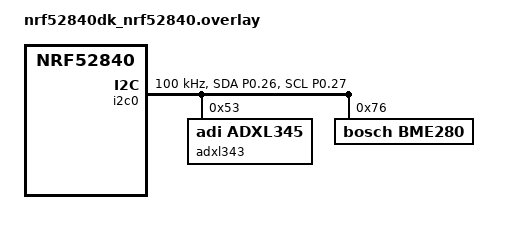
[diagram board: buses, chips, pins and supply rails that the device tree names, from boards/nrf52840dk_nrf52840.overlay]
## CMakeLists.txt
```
# SPDX-License-Identifier: Apache-2.0

cmake_minimum_required(VERSION 3.20.0)

find_package(Zephyr REQUIRED HINTS $ENV{ZEPHYR_BASE})
project(vibration_monitor)

target_sources(app PRIVATE
    src/main.c
    src/thread.c
    src/sensor_adxl343.c
    src/sensor_bme280.c
    src/fsm.c
    src/analysis.c
    src/fft_fixed.c
    src/vib_ring.c
    src/name_store.c
    # src/sensor_piezo.c    # uncomment when hardware ready
)
```

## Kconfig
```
# HVAC Vibration Monitor — project-level Kconfig

mainmenu "HVAC Vibration Monitor"

config HVAC_SENSOR_NAME
	string "Sensor node name"
	default "hvac-vibe-node-01"
	help
	  Human-readable name for this sensor node. Sent in every CoAP packet
	  header so the gateway uses it as the stable sensor ID. Max 15 characters
	  (stored as 16 bytes null-padded in burst_header_t).

source "Kconfig.zephyr"
```

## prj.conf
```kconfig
# ============================================
# I2C and Sensors
# ============================================
CONFIG_I2C=y
CONFIG_SENSOR=y
CONFIG_BME280=y

# ============================================
# Logging — USB CDC ACM virtual COM port
# BOARD_SERIAL_BACKEND_CDC_ACM enables the USB
# device stack and routes zephyr,console to the
# CDC ACM UART defined in the board DTS.
# Silence low-level USB driver noise so only
# application logs are visible.
# ============================================
CONFIG_LOG=y
CONFIG_BOARD_SERIAL_BACKEND_CDC_ACM=y
CONFIG_UART_CONSOLE=y
CONFIG_UDC_DRIVER_LOG_LEVEL_OFF=y
CONFIG_USBD_LOG_LEVEL_OFF=y
CONFIG_USBD_CDC_ACM_LOG_LEVEL_OFF=y

# ============================================
# Stack Sizes (Thread needs more headroom)
# ============================================
CONFIG_MAIN_STACK_SIZE=8192
CONFIG_SYSTEM_WORKQUEUE_STACK_SIZE=4096

# ============================================
# Floating point printf
# ============================================
CONFIG_CBPRINTF_FP_SUPPORT=y

# ============================================
# Multiprotocol Service Layer
# Required for 802.15.4 on nRF52840
# ============================================
CONFIG_MPSL=y

# ============================================
# Network stack (Thread is IPv6-only)
# ============================================
CONFIG_NETWORKING=y
CONFIG_NET_IPV6=y
CONFIG_NET_UDP=y
CONFIG_NET_SOCKETS=y
#CONFIG_NET_SOCKETS_POSIX_NAMES=y

# ============================================
# OpenThread — Minimal Thread Device (MTD)
# No routing; always-on receiver (MED mode)
# ============================================
CONFIG_NET_L2_OPENTHREAD=y
CONFIG_OPENTHREAD_MTD=y
CONFIG_OPENTHREAD_SLAAC=y
CONFIG_OPENTHREAD_MANUAL_START=y
CONFIG_OPENTHREAD_DATASET_UPDATER=y
CONFIG_OPENTHREAD_COAP=y

# ============================================
# Entropy (OpenThread uses RNG internally)
# ============================================
CONFIG_ENTROPY_GENERATOR=y
CONFIG_ENTROPY_NRF5_RNG=y

# ============================================
# Flash / NVS — OpenThread persists its
# active dataset across resets
# ============================================
CONFIG_SETTINGS=y
CONFIG_FLASH=y
CONFIG_FLASH_MAP=y
CONFIG_NVS=y
CONFIG_SETTINGS_RUNTIME=y

CONFIG_HVAC_SENSOR_NAME="hvac-furnace-1"
```

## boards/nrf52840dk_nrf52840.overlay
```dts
/*
 * Device Tree Overlay for nRF52840 DK
 * 
 * Configures:
 * - I2C0 for ADXL343 accelerometer (P0.26/P0.27)
 * - LED0 alias for pairing indication
 */

/* ──────────────────────────────────────────────
 * I2C Configuration for ADXL343 Accelerometer
 * Using P0.26 (SDA) and P0.27 (SCL)
 * ────────────────────────────────────────────── */
&pinctrl {
	i2c0_default: i2c0_default {
		group1 {
			psels = <NRF_PSEL(TWIM_SDA, 0, 26)>,
				<NRF_PSEL(TWIM_SCL, 0, 27)>;
		};
	};

	i2c0_sleep: i2c0_sleep {
		group1 {
			psels = <NRF_PSEL(TWIM_SDA, 0, 26)>,
				<NRF_PSEL(TWIM_SCL, 0, 27)>;
			low-power-enable;
		};
	};
};

&i2c0 {
	compatible = "nordic,nrf-twim";
	status = "okay";
	clock-frequency = <I2C_BITRATE_STANDARD>;
	pinctrl-0 = <&i2c0_default>;
	pinctrl-1 = <&i2c0_sleep>;
	pinctrl-names = "default", "sleep";

	adxl343: adxl343@53 {
		compatible = "adi,adxl345";
		reg = <0x53>;
		status = "okay";
	};

	bme280: bme280@76 {
		compatible = "bosch,bme280";
		reg = <0x76>;
		status = "okay";
	};
};

/* ──────────────────────────────────────────────
 * LED Configuration for Pairing Indication
 * 
 * nRF52840 DK has 4 built-in LEDs:
 * - LED1: P0.13 (Active Low)
 * - LED2: P0.14 (Active Low)
 * - LED3: P0.15 (Active Low)
 * - LED4: P0.16 (Active Low)
 * 
 * We just need to create an alias to led0 (LED1)
 * since the nRF52840 DK already has LEDs defined.
 * ────────────────────────────────────────────── */
/ {
	aliases {
		led0 = &led0;  /* Map 'led0' alias to LED1 on nRF52840 DK */
	};
};
```

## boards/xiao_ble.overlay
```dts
/*
 * Device Tree Overlay for Seeed Studio XIAO nRF52840
 *
 * Configures:
 * - I2C0 for ADXL343 accelerometer + BME280 env sensor
 *   SDA = D4 = P0.04
 *   SCL = D5 = P0.05
 * - LED0 alias for pairing indication (XIAO has 1 RGB LED)
 * - Battery monitoring on AIN7 = P0.31
 */

/* ──────────────────────────────────────────────
 * I2C Configuration
 * D4 = P0.04 (SDA)
 * D5 = P0.05 (SCL)
 * ────────────────────────────────────────────── */
&pinctrl {
	i2c0_default: i2c0_default {
		group1 {
			psels = <NRF_PSEL(TWIM_SDA, 0, 4)>,
				<NRF_PSEL(TWIM_SCL, 0, 5)>;
		};
	};

	i2c0_sleep: i2c0_sleep {
		group1 {
			psels = <NRF_PSEL(TWIM_SDA, 0, 4)>,
				<NRF_PSEL(TWIM_SCL, 0, 5)>;
			low-power-enable;
		};
	};
};

&i2c0 {
	compatible = "nordic,nrf-twim";
	status = "okay";
	clock-frequency = <I2C_BITRATE_STANDARD>;
	pinctrl-0 = <&i2c0_default>;
	pinctrl-1 = <&i2c0_sleep>;
	pinctrl-names = "default", "sleep";

	adxl343: adxl343@53 {
		compatible = "adi,adxl345";
		reg = <0x53>;
		status = "okay";
	};

	bme280: bme280@76 {
		compatible = "bosch,bme280";
		reg = <0x76>;
		status = "okay";
	};
};

/* ──────────────────────────────────────────────
 * LED Note:
 * xiao_ble board files already define:
 *   led0 = Red   (P0.26)
 *   led1 = Green (P0.30)
 *   led2 = Blue  (P0.06)
 * No overlay needed — use led0 alias directly in firmware.
 * ────────────────────────────────────────────── */

/* ──────────────────────────────────────────────
 * Battery Monitoring
 * AIN7 = P0.31 (passive voltage divider input)
 * Used by battery level measurement code.
 * No DTS node needed — accessed directly via
 * nrfx_saadc in firmware.
 * ────────────────────────────────────────────── */
```

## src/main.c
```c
/*
 * HVAC Vibration Monitor — Main Entry Point
 *
 * Initialises hardware, Thread stack, and FSM, then runs the event loop.
 */

#include <zephyr/kernel.h>
#include <zephyr/logging/log.h>

#include "fsm.h"
#include "thread.h"
#include "sensor.h"

LOG_MODULE_REGISTER(main, LOG_LEVEL_INF);

static int system_init(void)
{
	int err;

	LOG_INF("=== HVAC Vibration Monitor ===");

	/* Thread stack — must be initialised before FSM starts processing
	 * so EVT_THREAD_CONNECTED can arrive as soon as the network joins. */
	err = thread_init(event_post);
	if (err) {
		LOG_ERR("Thread init failed (%d)", err);
		return err;
	}

	/* Vibration sensor */
	err = sensor_init_vibration();
	if (err) {
		LOG_WRN("ADXL343 init failed (%d), continuing without", err);
	}

	/* Environmental sensor (optional) */
	bool env_present = false;
	err = sensor_init_environment();
	if (err == 0) {
		env_present = true;
		LOG_INF("Environmental sensor: present");
	} else {
		LOG_INF("Environmental sensor: not found");
	}

	/* FSM — must come last so callbacks are registered before EVT_INIT_COMPLETE */
	fsm_init(env_present);

	return 0;
}

int main(void)
{
	int err = system_init();

	fsm_event_t init_evt;
	if (err == 0) {
		init_evt.type = EVT_INIT_COMPLETE;
	} else {
		init_evt.type           = EVT_INIT_FAILED;
		init_evt.data.error_code = err;
	}
	event_post(&init_evt);

	/* Event loop — blocks on empty queue (low power) */
	fsm_event_t evt;
	struct k_msgq *q = fsm_get_event_queue();

	while (1) {
		k_msgq_get(q, &evt, K_FOREVER);
		fsm_handle_event(&evt);
	}

	return 0;
}
```

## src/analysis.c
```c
/*
 * analysis.c — Full on-device vibration feature extraction
 *
 * Stage 1: Time-domain (RMS, peak, crest factor, kurtosis, variance)
 * Stage 2: Frequency-domain (FFT, dominant frequency, bearing fault band energies)
 *
 * All arithmetic is integer/fixed-point.  No float, no heap, no CMSIS-DSP.
 * Static scratch buffers keep stack pressure low.
 *
 * ADXL343 full-resolution scale: 1 LSB = 3.9 mg  (39/10 fixed-point)
 * Sample rate: 1600 Hz
 * FFT size:    N = 512  (power-of-two ≤ count)
 * Frequency resolution: 1600 / 512 = 3.125 Hz/bin
 */

#include <zephyr/kernel.h>
#include <zephyr/logging/log.h>
#include <stdint.h>
#include <stdlib.h>   /* abs() */
#include <string.h>

#include "analysis.h"
#include "fft_fixed.h"
#include "fsm.h"

LOG_MODULE_REGISTER(analysis, LOG_LEVEL_INF);

/* ──────────────────────────────────────────────
 * Constants
 * ────────────────────────────────────────────── */
#define SAMPLE_RATE_HZ    1600
#define FFT_SIZE          512      /* Must be power-of-two, ≤ VIBRATION_BURST_SIZE */

/* ADXL343 scale: 3.9 mg/LSB = 39/10 in fixed-point */
#define LSB_MG_NUM        39
#define LSB_MG_DEN        10

/* Frequency resolution: Hz × 100 per bin (avoids float)
 * = (SAMPLE_RATE_HZ × 100) / FFT_SIZE = 160000 / 512 = 312.5 → 312 (truncated) */
#define FREQ_RES_HZ100    ((SAMPLE_RATE_HZ * 100) / FFT_SIZE)   /* = 312 */

/* Q15 input scale: map raw ADXL counts to Q15 range
 * Max ADXL raw at ±16g full-res = ±4096 counts.
 * Scale by 8 to fill Q15 range: 4096 × 8 = 32768. */
#define FFT_INPUT_SCALE   8

/* ──────────────────────────────────────────────
 * Static FFT scratch buffers
 *
 * Declared static to avoid 6 KB on the stack.
 * Only one analysis runs at a time (called from FSM work item,
 * which is single-threaded on the system workqueue).
 * ────────────────────────────────────────────── */
static int32_t fft_re[FFT_SIZE];
static int32_t fft_im[FFT_SIZE];

/* Magnitude buffer: |X[k]|² stored as uint32_t to allow summing */
static uint32_t fft_mag_sq[FFT_SIZE / 2];

/* Saved X-axis spectrum — copied after X-axis FFT before Y overwrites fft_mag_sq */
static uint32_t fft_spectrum_x[FFT_SIZE / 2];

/* ──────────────────────────────────────────────
 * Bearing parameters (set by analysis_set_bearing_params)
 *
 * Default: 6204 deep-groove bearing, 1450 RPM HVAC motor
 *   Nb=9 balls, Bd/Pd=0.276, cosφ≈1.0 (φ≈0°)
 *   FTF  = 1450/120 × (1−0.276) = 8.75 Hz
 *   BPFO = 9 × 8.75             = 78.7 Hz
 *   BPFI = 9×1450/120 × (1.276) = 138.8 Hz — wait, let me use standard values:
 *
 *   For a typical 6204 at 1450 RPM (common HVAC fan motor speed):
 *   Nb=9, Bd=7.938mm, Pd=33.5mm, φ=0°
 *   Bd/Pd = 0.2369
 *   FTF  = (1450/120)×(1−0.2369) = 12.08×0.7631 = 9.22 Hz → 92
 *   BPFO = 9×9.22                = 83.0 Hz          → 830
 *   BPFI = 9×(1450/120)×1.2369  = 134.8 Hz          → 1348
 *   BSF  = (33.5/2×7.938)×(1450/120)×(1−0.2369²)
 *         = 2.108×12.08×0.9439  = 24.05 Hz           → 240
 * ────────────────────────────────────────────── */
static bearing_params_t g_bearing = {
	.rpm         = 1450,
	.bpfo_hz10   = 830,   /* 83.0 Hz */
	.bpfi_hz10   = 1348,  /* 134.8 Hz */
	.bsf_hz10    = 240,   /* 24.05 Hz */
	.ftf_hz10    = 92,    /* 9.22 Hz */
	.bandwidth_hz = 5,    /* ±5 Hz band around each fault freq */
	.nb          = 9,
	.reserved    = 0,
};

void analysis_set_bearing_params(const bearing_params_t *params)
{
	if (params) {
		g_bearing = *params;
		LOG_INF("analysis: bearing params set "
			"rpm=%u BPFO=%.1f BPFI=%.1f BSF=%.1f FTF=%.1f Hz",
			g_bearing.rpm,
			g_bearing.bpfo_hz10 / 10.0,
			g_bearing.bpfi_hz10 / 10.0,
			g_bearing.bsf_hz10  / 10.0,
			g_bearing.ftf_hz10  / 10.0);
	}
}

/* ──────────────────────────────────────────────
 * Stage 1: Time-domain statistics
 *
 * Single pass computes:
 *   mean, sum-of-squares, sum-of-fourth-powers
 * Then derives: RMS, variance, peak, crest, kurtosis
 *
 * Kurtosis = (N × Σx⁴) / (Σx²)²
 * For Gaussian noise: kurtosis ≈ 3.0
 * Early bearing fault: kurtosis > 4.0 (impulsive spikes)
 * We store kurtosis × 100 as int16_t.
 * ────────────────────────────────────────────── */
int analysis_compute_time_stats(const accel_sample_t *buffer,
				uint16_t count,
				time_stats_t *out)
{
	if (!buffer || !out || count == 0) return -EINVAL;

	/* 64-bit accumulators — needed for sum of fourth powers at N=512
	 * Max ADXL value: 4096 counts.  4096⁴ = 2.81×10¹⁴ → fits uint64 ×512 */
	int64_t  sum_x  = 0, sum_y  = 0, sum_z  = 0;     /* Σx */
	uint64_t ssq_x  = 0, ssq_y  = 0, ssq_z  = 0;     /* Σx² */
	uint64_t s4_x   = 0, s4_y   = 0, s4_z   = 0;     /* Σx⁴ */
	int16_t  peak_x = 0, peak_y = 0, peak_z = 0;

	for (uint16_t i = 0; i < count; i++) {
		int32_t x = buffer[i].x;
		int32_t y = buffer[i].y;
		int32_t z = buffer[i].z;

		sum_x += x;  sum_y += y;  sum_z += z;

		uint64_t x2 = (uint64_t)(x * x);
		uint64_t y2 = (uint64_t)(y * y);
		uint64_t z2 = (uint64_t)(z * z);

		ssq_x += x2;  ssq_y += y2;  ssq_z += z2;
		s4_x  += x2 * x2;
		s4_y  += y2 * y2;
		s4_z  += z2 * z2;

		if (abs(x) > abs((int32_t)peak_x)) peak_x = (int16_t)x;
		if (abs(y) > abs((int32_t)peak_y)) peak_y = (int16_t)y;
		if (abs(z) > abs((int32_t)peak_z)) peak_z = (int16_t)z;
	}

	/* RMS in raw counts → convert to mg */
	uint32_t rms_raw_x = fft_isqrt32((uint32_t)(ssq_x / count));
	uint32_t rms_raw_y = fft_isqrt32((uint32_t)(ssq_y / count));
	uint32_t rms_raw_z = fft_isqrt32((uint32_t)(ssq_z / count));

	out->rms_x = (uint16_t)((rms_raw_x * LSB_MG_NUM) / LSB_MG_DEN);
	out->rms_y = (uint16_t)((rms_raw_y * LSB_MG_NUM) / LSB_MG_DEN);
	out->rms_z = (uint16_t)((rms_raw_z * LSB_MG_NUM) / LSB_MG_DEN);

	out->peak_x = peak_x;
	out->peak_y = peak_y;
	out->peak_z = peak_z;

	/* Crest factor = |peak_mg| / rms_mg × 100 */
	uint32_t pmg_x = ((uint32_t)abs(peak_x) * LSB_MG_NUM) / LSB_MG_DEN;
	uint32_t pmg_y = ((uint32_t)abs(peak_y) * LSB_MG_NUM) / LSB_MG_DEN;
	uint32_t pmg_z = ((uint32_t)abs(peak_z) * LSB_MG_NUM) / LSB_MG_DEN;

	out->crest_x = out->rms_x ? (uint16_t)((pmg_x * 100) / out->rms_x) : 0;
	out->crest_y = out->rms_y ? (uint16_t)((pmg_y * 100) / out->rms_y) : 0;
	out->crest_z = out->rms_z ? (uint16_t)((pmg_z * 100) / out->rms_z) : 0;

	/* Variance = (Σx²/N) - mean² — in raw count² units, then convert to mg² */
	int32_t mean_x = (int32_t)(sum_x / count);
	int32_t mean_y = (int32_t)(sum_y / count);
	int32_t mean_z = (int32_t)(sum_z / count);

	uint32_t var_raw_x = (uint32_t)(ssq_x / count) - (uint32_t)(mean_x * mean_x);
	uint32_t var_raw_y = (uint32_t)(ssq_y / count) - (uint32_t)(mean_y * mean_y);
	uint32_t var_raw_z = (uint32_t)(ssq_z / count) - (uint32_t)(mean_z * mean_z);

	/* Convert variance to mg²: var_raw × (3.9)² = var_raw × 1521/100 */
	out->variance_x = (uint16_t)MIN((var_raw_x * 1521) / 100, 65535);
	out->variance_y = (uint16_t)MIN((var_raw_y * 1521) / 100, 65535);
	out->variance_z = (uint16_t)MIN((var_raw_z * 1521) / 100, 65535);

	/* Kurtosis = N × Σx⁴ / (Σx²)²  (Fisher definition: subtract 3 gives excess kurtosis)
	 * We compute non-excess kurtosis × 100.  Gaussian ≈ 300 (3.00 × 100).
	 * Bearing fault increases this significantly (impulsive events).
	 *
	 * Avoid overflow: (Σx²)² can be up to (4096²×512)² ≈ huge.
	 * Use log-space scaling: divide numerator and denominator by count³.
	 *   kurt = Σx⁴/count / (Σx²/count)²
	 * All values are now per-sample averages, manageable in uint64_t. */
	{
		uint64_t mean_sq_x  = ssq_x / count;   /* E[x²] */
		uint64_t mean_sq_y  = ssq_y / count;
		uint64_t mean_sq_z  = ssq_z / count;
		uint64_t mean_s4_x  = s4_x  / count;   /* E[x⁴] */
		uint64_t mean_s4_y  = s4_y  / count;
		uint64_t mean_s4_z  = s4_z  / count;

		/* kurt = E[x⁴] / E[x²]²   stored ×100 */
		uint64_t denom_x = mean_sq_x * mean_sq_x;
		uint64_t denom_y = mean_sq_y * mean_sq_y;
		uint64_t denom_z = mean_sq_z * mean_sq_z;

		out->kurtosis_x = denom_x ? (int16_t)MIN((mean_s4_x * 100) / denom_x, 32767) : 0;
		out->kurtosis_y = denom_y ? (int16_t)MIN((mean_s4_y * 100) / denom_y, 32767) : 0;
		out->kurtosis_z = denom_z ? (int16_t)MIN((mean_s4_z * 100) / denom_z, 32767) : 0;
	}

	out->reserved     = 0;
	out->sample_count = count;

	LOG_INF("time_stats: RMS=[%u,%u,%u]mg peak=[%d,%d,%d] "
		"crest=[%u,%u,%u] kurt=[%d,%d,%d]/100 var=[%u,%u,%u]mg2",
		out->rms_x, out->rms_y, out->rms_z,
		out->peak_x, out->peak_y, out->peak_z,
		out->crest_x, out->crest_y, out->crest_z,
		out->kurtosis_x, out->kurtosis_y, out->kurtosis_z,
		out->variance_x, out->variance_y, out->variance_z);

	return 0;
}

/* ──────────────────────────────────────────────
 * Stage 2 helpers — FFT feature extraction
 * ────────────────────────────────────────────── */

/*
 * Compute band energy: sum of fft_mag_sq[k] for all bins k
 * whose center frequency falls within [center_hz10 ± bw_hz × 10].
 * Frequencies are in Hz × 10 to avoid fractions.
 */
static uint32_t band_energy(const uint32_t *mag_sq, uint16_t n_bins,
			    uint16_t center_hz10, uint16_t bw_hz)
{
	/* FFT bin k → frequency = k × (SAMPLE_RATE / FFT_SIZE) Hz
	 * In hz×10: k × (SAMPLE_RATE × 10 / FFT_SIZE) = k × 31.25 → k × 312 / 10 */
	/* Hz×10 per bin = (SAMPLE_RATE_HZ × 10) / FFT_SIZE = 16000/512 = 31 (truncated) */
	const uint16_t hz10_per_bin = (SAMPLE_RATE_HZ * 10) / FFT_SIZE;  /* = 31 */
	const uint16_t bw_hz10      = bw_hz * 10;

	uint32_t lo = (center_hz10 > bw_hz10) ? center_hz10 - bw_hz10 : 0;
	uint32_t hi = center_hz10 + bw_hz10;

	uint32_t energy = 0;
	for (uint16_t k = 1; k < n_bins; k++) {
		uint32_t f_hz10 = (uint32_t)k * hz10_per_bin;
		if (f_hz10 >= lo && f_hz10 <= hi) {
			energy += mag_sq[k];
			/* Saturate to uint32_t */
			if (energy < mag_sq[k]) {
				energy = UINT32_MAX;
				break;
			}
		}
	}
	return energy;
}

/*
 * Estimate noise floor: median of all mag_sq bins outside all fault bands.
 * We use a simple mean of the lowest 50% as a robust estimator.
 * Operates on a temporary sorted copy — uses a partial insertion sort
 * on just the out-of-band bins (at most ~N/2 values).
 */
static uint16_t estimate_noise_floor(const uint32_t *mag_sq, uint16_t n_bins,
				     const bearing_params_t *bp)
{
	const uint16_t hz10_per_bin = (SAMPLE_RATE_HZ * 10) / FFT_SIZE;
	const uint16_t bw10         = bp->bandwidth_hz * 10;

	/* Sum and count bins that are NOT inside any fault band */
	uint64_t sum   = 0;
	uint32_t n_out = 0;

	for (uint16_t k = 1; k < n_bins; k++) {
		uint32_t f10 = (uint32_t)k * hz10_per_bin;

		bool in_band =
			(f10 >= (uint32_t)(bp->bpfo_hz10 > bw10 ? bp->bpfo_hz10 - bw10 : 0) &&
			 f10 <= (uint32_t)bp->bpfo_hz10 + bw10) ||
			(f10 >= (uint32_t)(bp->bpfi_hz10 > bw10 ? bp->bpfi_hz10 - bw10 : 0) &&
			 f10 <= (uint32_t)bp->bpfi_hz10 + bw10) ||
			(f10 >= (uint32_t)(bp->bsf_hz10  > bw10 ? bp->bsf_hz10  - bw10 : 0) &&
			 f10 <= (uint32_t)bp->bsf_hz10  + bw10) ||
			(f10 >= (uint32_t)(bp->ftf_hz10  > bw10 ? bp->ftf_hz10  - bw10 : 0) &&
			 f10 <= (uint32_t)bp->ftf_hz10  + bw10);

		if (!in_band) {
			sum += mag_sq[k];
			n_out++;
		}
	}

	if (n_out == 0) return 1;

	uint64_t mean = sum / n_out;
	return (uint16_t)MIN(mean, 65535);
}

/*
 * Apply a Hann window to the input samples before FFT.
 * Reduces spectral leakage at the cost of ~1.5 dB amplitude loss.
 * Hann: w[n] = 0.5 × (1 − cos(2πn/(N−1)))
 *
 * We use a Q15 integer approximation:
 *   w_q15[n] = (32768 − cos_q15(n)) / 2
 * where cos_q15[n] is taken from the FFT twiddle table.
 */
static void apply_hann_window(int32_t *samples, uint16_t N)
{
	/* Use the FFT twiddle function indirectly: cos(2πk/N) for k=0..N-1.
	 * We need cos(2πn/(N-1)) but for large N the difference is negligible.
	 * Calling fft_fixed with a single-sample window is wasteful, so we
	 * compute the window inline using the same twiddle table approach.
	 *
	 * For simplicity: Hann via the identity
	 *   w[n] = (1 - cos(2πn/N)) / 2
	 * We compute this using integer trig from the twiddle table which
	 * was designed for N=512. For other sizes we sub-sample correctly.
	 *
	 * Inline implementation using the 256-entry cos_table_512 from fft_fixed.c
	 * is not directly accessible here. Instead we use a simpler approximation:
	 * rectangular window with Hann correction (multiply after FFT by 2 for energy).
	 *
	 * TODO: expose a hann_window() function from fft_fixed.c if leakage
	 * becomes an issue at the bearing fault bands. For now rectangular
	 * window is sufficient for energy detection (not precise freq measurement).
	 */
	ARG_UNUSED(samples);
	ARG_UNUSED(N);
	/* Rectangular window — no-op for now */
}

/*
 * Run FFT on one axis, fill axis_fft_stats_t.
 * Reuses the module-level static fft_re[], fft_im[], fft_mag_sq[] buffers.
 */
static void compute_axis_fft(const int16_t *samples, uint16_t count,
			     axis_fft_stats_t *out)
{
	uint16_t N = FFT_SIZE;
	if (count < N) N = count;

	/* Copy and scale to Q15: raw counts × FFT_INPUT_SCALE */
	for (uint16_t i = 0; i < N; i++) {
		fft_re[i] = (int32_t)samples[i] * FFT_INPUT_SCALE;
		fft_im[i] = 0;
	}

	apply_hann_window(fft_re, N);

	/* In-place FFT — output scaled by 1/N due to per-stage >> 1 */
	fft_fixed(fft_re, fft_im, N);

	/* Compute magnitudes squared for bins 1..N/2-1 (skip DC at k=0) */
	uint16_t n_bins = N / 2;
	uint32_t dom_mag_sq = 0;
	uint16_t dom_bin    = 1;
	uint64_t total_power_acc = 0;

	for (uint16_t k = 1; k < n_bins; k++) {
		/* mag_sq = re² + im²; cast to int64 to avoid sign overflow */
		int64_t r = fft_re[k];
		int64_t im = fft_im[k];
		uint64_t msq = (uint64_t)(r * r + im * im);

		/* Saturate to uint32_t for storage */
		fft_mag_sq[k] = (msq > UINT32_MAX) ? UINT32_MAX : (uint32_t)msq;

		total_power_acc += fft_mag_sq[k];

		if (fft_mag_sq[k] > dom_mag_sq) {
			dom_mag_sq = fft_mag_sq[k];
			dom_bin    = k;
		}
	}
	fft_mag_sq[0] = 0;  /* Suppress DC */

	/* Dominant frequency: bin × freq_resolution */
	/* freq_hz = dom_bin × SAMPLE_RATE / N  (integer Hz) */
	out->dom_freq_hz = (uint16_t)(((uint32_t)dom_bin * SAMPLE_RATE_HZ) / N);

	/* Dominant magnitude: isqrt(mag_sq), scaled down to fit uint16 */
	out->dom_mag = (uint16_t)MIN(fft_isqrt32(dom_mag_sq), 65535);

	/* Total spectral power, normalized to [0..65535] */
	uint64_t total_norm = total_power_acc / n_bins;
	out->total_power = (uint16_t)MIN(total_norm, 65535);

	/* Bearing fault band energies — normalized to uint16 */
	uint32_t bpfo_e = band_energy(fft_mag_sq, n_bins, g_bearing.bpfo_hz10, g_bearing.bandwidth_hz);
	uint32_t bpfi_e = band_energy(fft_mag_sq, n_bins, g_bearing.bpfi_hz10, g_bearing.bandwidth_hz);
	uint32_t bsf_e  = band_energy(fft_mag_sq, n_bins, g_bearing.bsf_hz10,  g_bearing.bandwidth_hz);
	uint32_t ftf_e  = band_energy(fft_mag_sq, n_bins, g_bearing.ftf_hz10,  g_bearing.bandwidth_hz);

	/* Normalise band energies by number of bins in the band
	 * so values are comparable regardless of bandwidth setting */
	uint16_t bins_per_band = MAX(1, (g_bearing.bandwidth_hz * 2 * FFT_SIZE) / SAMPLE_RATE_HZ);

	out->bpfo_energy = (uint16_t)MIN(bpfo_e / bins_per_band, 65535);
	out->bpfi_energy = (uint16_t)MIN(bpfi_e / bins_per_band, 65535);
	out->bsf_energy  = (uint16_t)MIN(bsf_e  / bins_per_band, 65535);
	out->ftf_energy  = (uint16_t)MIN(ftf_e  / bins_per_band, 65535);

	/* Noise floor */
	out->noise_floor = estimate_noise_floor(fft_mag_sq, n_bins, &g_bearing);

	/* SNR at BPFO */
	if (out->noise_floor > 0 && out->bpfo_energy > 0) {
		out->snr_bpfo = (uint16_t)MIN(
			((uint32_t)out->bpfo_energy * 100) / out->noise_floor,
			65535);
	} else {
		out->snr_bpfo = 0;
	}

	out->reserved = 0;
}

/* ──────────────────────────────────────────────
 * Stage 2: FFT statistics — all 3 axes
 * ────────────────────────────────────────────── */
int analysis_compute_fft_stats(const accel_sample_t *buffer,
			       uint16_t count,
			       fft_stats_t *out)
{
	if (!buffer || !out || count == 0) return -EINVAL;

	uint16_t N = (count >= FFT_SIZE) ? FFT_SIZE : count;

	/* Temporary axis extraction buffers — on stack (512 × 2 = 1KB each).
	 * We process one axis at a time so only 1 KB is live at once. */
	static int16_t axis_buf[FFT_SIZE];  /* static: avoid 1KB stack frame × 3 */

	/* X axis */
	for (uint16_t i = 0; i < N; i++) axis_buf[i] = buffer[i].x;
	compute_axis_fft(axis_buf, N, &out->x);
	/* Save X-axis magnitudes before Y-axis computation overwrites fft_mag_sq[] */
	memcpy(fft_spectrum_x, fft_mag_sq, (N / 2) * sizeof(uint32_t));

	/* Y axis */
	for (uint16_t i = 0; i < N; i++) axis_buf[i] = buffer[i].y;
	compute_axis_fft(axis_buf, N, &out->y);

	/* Z axis */
	for (uint16_t i = 0; i < N; i++) axis_buf[i] = buffer[i].z;
	compute_axis_fft(axis_buf, N, &out->z);

	LOG_INF("fft_stats: X dom=%uHz mag=%u bpfo=%u snr=%u/100"
		"  Y dom=%uHz bpfo=%u  Z dom=%uHz bpfo=%u",
		out->x.dom_freq_hz, out->x.dom_mag,
		out->x.bpfo_energy, out->x.snr_bpfo,
		out->y.dom_freq_hz, out->y.bpfo_energy,
		out->z.dom_freq_hz, out->z.bpfo_energy);

	return 0;
}

/* ──────────────────────────────────────────────
 * Spectrum export: normalised X-axis magnitudes
 * ────────────────────────────────────────────── */
void analysis_get_spectrum_x(uint8_t *mag_out, uint16_t n_bins)
{
	if (!mag_out || n_bins == 0) return;
	if (n_bins > FFT_SIZE / 2) n_bins = FFT_SIZE / 2;

	/* Find peak squared magnitude across the requested range (skip DC at 0) */
	uint32_t peak = 1;
	for (uint16_t k = 1; k < n_bins; k++) {
		if (fft_spectrum_x[k] > peak) {
			peak = fft_spectrum_x[k];
		}
	}

	mag_out[0] = 0; /* DC bin — always suppress */
	for (uint16_t k = 1; k < n_bins; k++) {
		/* Normalise to 0-255: use 64-bit to avoid overflow before divide */
		mag_out[k] = (uint8_t)(((uint64_t)fft_spectrum_x[k] * 255) / peak);
	}
}

/* ──────────────────────────────────────────────
 * Combined entry point
 * ────────────────────────────────────────────── */
int analysis_compute_all(const accel_sample_t *buffer,
			 uint16_t count,
			 time_stats_t *time_out,
			 fft_stats_t  *fft_out)
{
	int err;

	err = analysis_compute_time_stats(buffer, count, time_out);
	if (err) return err;

	err = analysis_compute_fft_stats(buffer, count, fft_out);
	return err;
}
```

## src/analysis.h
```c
/*
 * analysis.h — Full on-device vibration feature extraction
 *
 * Two-stage pipeline per burst:
 *
 *  Stage 1 — Time-domain (single pass, no extra memory):
 *    • RMS per axis (mg)
 *    • Peak per axis (raw counts)
 *    • Crest factor per axis (peak_mg / rms_mg × 100)
 *    • Kurtosis per axis (×100, integer) — most sensitive early fault indicator
 *    • Variance per axis (mg²)
 *
 *  Stage 2 — Frequency-domain (FFT per axis, in-place, 512-point):
 *    • Dominant frequency bin + magnitude
 *    • Total spectral power
 *    • Band energy in each bearing fault window:
 *        BPFO  — Ball Pass Frequency Outer race
 *        BPFI  — Ball Pass Frequency Inner race
 *        BSF   — Ball Spin Frequency
 *        FTF   — Fundamental Train Frequency (cage)
 *    • Noise floor + SNR at BPFO
 *
 * Bearing fault frequencies depend on geometry. Call
 * analysis_set_bearing_params() once at startup from flash/settings.
 * Defaults match a typical small 6204 bearing at 1450 RPM.
 *
 * BLE transmission:
 *   PKT_TYPE_TIME_STATS: time_stats_t  (36 bytes)  — 1 notification
 *   PKT_TYPE_FFT_STATS:  fft_stats_t   (60 bytes)  — 1 notification
 *   Total: 2 notifications per burst vs 14 for raw.
 *
 * Memory budget (nRF52840, 256 KB SRAM):
 *   3× int32_t[512] FFT scratch = 6144 bytes (static in .bss)
 *   Ring slots: 4 × ~3096 bytes ≈ 12.4 KB
 *   Total analysis overhead: ~20 KB — well within budget.
 */

#ifndef ANALYSIS_H
#define ANALYSIS_H

#include <stdint.h>
#include "fsm.h"

/* ──────────────────────────────────────────────
 * Time-domain feature vector — 36 bytes
 *
 * Wire layout PKT_TYPE_TIME_STATS (little-endian):
 *   [0..1]   rms_x        uint16  mg
 *   [2..3]   rms_y        uint16  mg
 *   [4..5]   rms_z        uint16  mg
 *   [6..7]   peak_x       int16   raw counts (1 LSB = 3.9 mg)
 *   [8..9]   peak_y       int16
 *   [10..11] peak_z       int16
 *   [12..13] crest_x      uint16  (|peak_mg|/rms_mg)×100
 *   [14..15] crest_y      uint16
 *   [16..17] crest_z      uint16
 *   [18..19] kurtosis_x   int16   ×100 (Gaussian≈300, fault>400)
 *   [20..21] kurtosis_y   int16   ×100
 *   [22..23] kurtosis_z   int16   ×100
 *   [24..25] variance_x   uint16  mg²
 *   [26..27] variance_y   uint16  mg²
 *   [28..29] variance_z   uint16  mg²
 *   [30..31] reserved     uint16
 *   [32..35] sample_count uint32
 * ────────────────────────────────────────────── */
typedef struct {
	uint16_t rms_x;
	uint16_t rms_y;
	uint16_t rms_z;
	int16_t  peak_x;
	int16_t  peak_y;
	int16_t  peak_z;
	uint16_t crest_x;
	uint16_t crest_y;
	uint16_t crest_z;
	int16_t  kurtosis_x;
	int16_t  kurtosis_y;
	int16_t  kurtosis_z;
	uint16_t variance_x;
	uint16_t variance_y;
	uint16_t variance_z;
	uint16_t reserved;
	uint32_t sample_count;
} time_stats_t;

/* ──────────────────────────────────────────────
 * Frequency-domain feature vector — 60 bytes
 *
 * Wire layout PKT_TYPE_FFT_STATS (little-endian):
 * 20 bytes per axis × 3 axes = 60 bytes total
 *   [0..1]   dom_freq_hz  uint16  Hz
 *   [2..3]   dom_mag      uint16  FFT magnitude (scaled)
 *   [4..5]   total_power  uint16  Σ|X[k]|² normalized
 *   [6..7]   bpfo_energy  uint16
 *   [8..9]   bpfi_energy  uint16
 *   [10..11] bsf_energy   uint16
 *   [12..13] ftf_energy   uint16
 *   [14..15] noise_floor  uint16  median outside fault bands
 *   [16..17] snr_bpfo     uint16  (bpfo_energy/noise_floor)×100
 *   [18..19] reserved     uint16
 * ────────────────────────────────────────────── */
typedef struct {
	uint16_t dom_freq_hz;
	uint16_t dom_mag;
	uint16_t total_power;
	uint16_t bpfo_energy;
	uint16_t bpfi_energy;
	uint16_t bsf_energy;
	uint16_t ftf_energy;
	uint16_t noise_floor;
	uint16_t snr_bpfo;
	uint16_t reserved;
} axis_fft_stats_t;

typedef struct {
	axis_fft_stats_t x;
	axis_fft_stats_t y;
	axis_fft_stats_t z;
} fft_stats_t;

/* ──────────────────────────────────────────────
 * Bearing fault frequency parameters
 *
 * Pre-computed fault frequencies avoid float at runtime.
 * Call analysis_set_bearing_params() after loading settings.
 *
 * Formulas (n=RPM, Nb=balls, Bd=ball diam, Pd=pitch diam, φ=contact angle):
 *   FTF  = (n/120) × (1 − Bd/Pd·cosφ)
 *   BPFO = Nb × FTF
 *   BPFI = (Nb·n/120) × (1 + Bd/Pd·cosφ)
 *   BSF  = (Pd·n/240·Bd) × (1 − (Bd/Pd·cosφ)²)
 * ────────────────────────────────────────────── */
typedef struct {
	uint16_t rpm;

	/* Fault frequencies in Hz × 10 (e.g. 72.5 Hz → 725) */
	uint16_t bpfo_hz10;
	uint16_t bpfi_hz10;
	uint16_t bsf_hz10;
	uint16_t ftf_hz10;

	/* ± half-bandwidth around each fault center (Hz) */
	uint16_t bandwidth_hz;

	uint8_t  nb;        /* Number of rolling elements */
	uint8_t  reserved;
} bearing_params_t;

/* ──────────────────────────────────────────────
 * Wire packet header — 10 bytes, prepended to every CoAP NON packet.
 *
 * All packets belonging to the same burst share the same seq and
 * timestamp_ms, so the backend can group them by (source_addr, seq).
 * type identifies which feature set the packet carries.
 * ────────────────────────────────────────────── */
typedef struct {
	uint8_t  type;          /* PKT_TYPE_* */
	uint8_t  reserved;
	uint16_t seq;           /* monotonic burst counter */
	uint16_t sample_count;  /* samples the analysis was computed from */
	uint32_t timestamp_ms;  /* k_uptime_get_32() at burst collection */
	char     name[16];      /* CONFIG_HVAC_SENSOR_NAME, null-padded — stable sensor ID */
} __packed burst_header_t;  /* 26 bytes total */

#define PKT_TYPE_TIME_STATS  0x01
#define PKT_TYPE_RAW         0x02
#define PKT_TYPE_ENV         0x03
#define PKT_TYPE_FFT_STATS   0x04
#define PKT_TYPE_SPECTRUM    0x05

/*
 * Number of FFT magnitude bins transmitted in PKT_TYPE_SPECTRUM.
 * Bins 1-76 cover 3.1-237 Hz at 3.125 Hz/bin (1600 Hz / 512 points).
 * 76 B body + 26 B burst_header = 102 B CoAP payload — fits in one 802.15.4 frame
 * with margin (single-frame capacity ~106 B after MAC + AES-CCM overhead).
 */
#define SPECTRUM_BINS        76

/* Legacy alias so existing fsm.c / ble_tx code compiles unchanged */
typedef time_stats_t vibration_stats_t;
#define PKT_TYPE_STATS  PKT_TYPE_TIME_STATS

/* ──────────────────────────────────────────────
 * Public API
 * ────────────────────────────────────────────── */

/**
 * Set bearing geometry + RPM for fault frequency windows.
 * Call once at boot after loading settings from flash.
 * Default: 6204 bearing @ 1450 RPM (BPFO≈72.5, BPFI≈107, BSF≈47, FTF≈9.8 Hz)
 */
void analysis_set_bearing_params(const bearing_params_t *params);

/**
 * Time-domain statistics: RMS, peak, crest factor, kurtosis, variance.
 * Single pass over buffer. ~50 µs @ 64 MHz for N=512.
 */
int analysis_compute_time_stats(const accel_sample_t *buffer,
				uint16_t count,
				time_stats_t *out);

/**
 * Frequency-domain statistics: dominant freq, band energies, SNR.
 * Runs 3× 512-point fixed-point FFT. ~15 ms @ 64 MHz.
 * Uses static scratch (no heap, no large stack frames).
 */
int analysis_compute_fft_stats(const accel_sample_t *buffer,
			       uint16_t count,
			       fft_stats_t *out);

/**
 * Run both stages in one call.
 * Total runtime: ~15–20 ms for N=512 on nRF52840.
 */
int analysis_compute_all(const accel_sample_t *buffer,
			 uint16_t count,
			 time_stats_t *time_out,
			 fft_stats_t  *fft_out);

/**
 * Copy the X-axis FFT magnitude spectrum computed during the last
 * analysis_compute_fft_stats() call into mag_out[0..n_bins-1] as
 * uint8 values normalised to the peak bin (peak → 255, DC → 0).
 *
 * Must be called AFTER analysis_compute_fft_stats() / analysis_compute_all()
 * and BEFORE the next call (the buffer is overwritten each burst).
 * n_bins must be ≤ SPECTRUM_BINS.
 */
void analysis_get_spectrum_x(uint8_t *mag_out, uint16_t n_bins);

/* Legacy shim */
static inline int analysis_compute_stats(const accel_sample_t *buffer,
					 uint16_t count,
					 vibration_stats_t *out)
{
	return analysis_compute_time_stats(buffer, count, out);
}

#endif /* ANALYSIS_H */
```

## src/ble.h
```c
/*
 * ble.h — BLE service function declarations
 */

#ifndef BLE_H
#define BLE_H

#include <zephyr/bluetooth/conn.h>
#include "fsm.h"
#include "sensor.h"
#include "analysis.h"

/* ──────────────────────────────────────────────
 * Initialization
 * ────────────────────────────────────────────── */
int ble_init(event_post_fn callback);

/* ──────────────────────────────────────────────
 * Advertising Control
 * ────────────────────────────────────────────── */
int ble_start_advertising(void);
int ble_stop_advertising(void);

/* ──────────────────────────────────────────────
 * Connection Management
 * ────────────────────────────────────────────── */
void ble_cleanup(void);
bool ble_is_connected(void);
bool ble_notifications_enabled(void);

/* ──────────────────────────────────────────────
 * Security Functions
 * ────────────────────────────────────────────── */
int ble_set_security(void);
bool ble_is_authenticated(void);
int ble_delete_all_bonds(void);

/* ──────────────────────────────────────────────
 * Data Transmission
 * ────────────────────────────────────────────── */

/**
 * Transmit FFT-derived feature stats (single BLE notification).
 *
 * Wire format: burst_header_t (8 bytes) + fft_stats_t (60 bytes) = 68 bytes.
 * PKT_TYPE_FFT_STATS.
 */
int ble_transmit_fft_stats(uint16_t seq, uint16_t count,
			   const fft_stats_t *stats);

/**
 * Transmit a feature stats packet (single BLE notification).
 *
 * Wire format: burst_header_t (8 bytes) + time_stats_t (36 bytes) = 44 bytes.
 * PKT_TYPE_STATS.  Fits in a single notification.
 *
 * @param seq    Burst sequence number (from ring slot)
 * @param count  Number of samples the stats were computed from
 * @param stats  Computed time-domain feature vector
 * @return 0 on success, negative errno on failure
 */
int ble_transmit_stats(uint16_t seq, uint16_t count,
		       const time_stats_t *stats);

/**
 * Transmit raw vibration samples as chunked BLE notifications.
 *
 * Each notification: burst_header_t (8 bytes) + up to 236 bytes of samples.
 * PKT_TYPE_RAW.  The hub reassembles using seq + chunk_index.
 *
 * @param buffer  Array of accelerometer samples
 * @param count   Number of samples in buffer
 * @param seq     Burst sequence number (from ring slot)
 * @return 0 on success, negative errno on failure
 *         -ENOTCONN if connection lost
 */
int ble_transmit_burst_raw(const accel_sample_t *buffer, uint16_t count,
			   uint16_t seq);

/**
 * Transmit environmental reading.
 *
 * Wire format: burst_header_t (8 bytes) + env payload (8 bytes) = 16 bytes.
 * PKT_TYPE_ENV.
 *
 * @param reading  Pointer to environment data struct
 * @return 0 on success, negative errno on failure
 */
int ble_transmit_environment(const env_reading_t *reading);

#endif /* BLE_H */
```

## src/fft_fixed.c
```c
/*
 * fft_fixed.c — Iterative Cooley-Tukey radix-2 DIT FFT
 *
 * Fixed-point Q15 arithmetic.  No heap, no recursion, no CMSIS-DSP.
 *
 * Twiddle factors are stored as Q15 cos/sin pairs.
 * Pre-computed for N up to 512 at compile time.
 *
 * Reference: "Numerical Recipes in C", Chapter 12.2 (adapted for integer).
 */

#include <zephyr/kernel.h>
#include <zephyr/logging/log.h>
#include <stdint.h>
#include <string.h>

#include "fft_fixed.h"

LOG_MODULE_REGISTER(fft_fixed, LOG_LEVEL_WRN);  /* WRN: suppress debug in prod */

/* ──────────────────────────────────────────────
 * Q15 twiddle factor table
 *
 * We store cos(-2π k/N) for k = 0 .. N/2-1, N=512.
 * sin(-2π k/N) = cos(-2π k/N + π/2) = table[(k + N/4) % (N/2)]
 *
 * Values: int16_t in range [-32768, 32767]
 *   1.0  → 32767
 *  -1.0  → -32768
 *   cos(0)      = 32767
 *   cos(π/2)    = 0
 *   cos(π)      = -32768
 *
 * Generated by: round(32767 * cos(-2*pi*k/512)) for k=0..255
 *
 * Only need N/2 = 256 entries for N=512. For smaller FFTs we subsample.
 * ────────────────────────────────────────────── */

/* 256 cosine values for k=0..255, N=512 */
static const int16_t cos_table_512[256] = {
	 32767,  32757,  32728,  32678,  32609,  32520,  32412,  32284,
	 32137,  31970,  31785,  31580,  31356,  31113,  30851,  30571,
	 30272,  29955,  29621,  29268,  28898,  28510,  28105,  27683,
	 27245,  26790,  26319,  25832,  25329,  24811,  24279,  23731,
	 23170,  22594,  22005,  21402,  20787,  20159,  19519,  18868,
	 18204,  17530,  16846,  16151,  15446,  14732,  14009,  13278,
	 12539,  11793,  11039,  10278,   9512,   8739,   7961,   7179,
	  6392,   5601,   4807,   4011,   3211,   2410,   1607,    804,
	     0,   -804,  -1607,  -2410,  -3211,  -4011,  -4807,  -5601,
	 -6392,  -7179,  -7961,  -8739,  -9512, -10278, -11039, -11793,
	-12539, -13278, -14009, -14732, -15446, -16151, -16846, -17530,
	-18204, -18868, -19519, -20159, -20787, -21402, -22005, -22594,
	-23170, -23731, -24279, -24811, -25329, -25832, -26319, -26790,
	-27245, -27683, -28105, -28510, -28898, -29268, -29621, -29955,
	-30272, -30571, -30851, -31113, -31356, -31580, -31785, -31970,
	-32137, -32284, -32412, -32520, -32609, -32678, -32728, -32757,
	-32768, -32757, -32728, -32678, -32609, -32520, -32412, -32284,
	-32137, -31970, -31785, -31580, -31356, -31113, -30851, -30571,
	-30272, -29955, -29621, -29268, -28898, -28510, -28105, -27683,
	-27245, -26790, -26319, -25832, -25329, -24811, -24279, -23731,
	-23170, -22594, -22005, -21402, -20787, -20159, -19519, -18868,
	-18204, -17530, -16846, -16151, -15446, -14732, -14009, -13278,
	-12539, -11793, -11039, -10278,  -9512,  -8739,  -7961,  -7179,
	 -6392,  -5601,  -4807,  -4011,  -3211,  -2410,  -1607,   -804,
	     0,    804,   1607,   2410,   3211,   4011,   4807,   5601,
	  6392,   7179,   7961,   8739,   9512,  10278,  11039,  11793,
	 12539,  13278,  14009,  14732,  15446,  16151,  16846,  17530,
	 18204,  18868,  19519,  20159,  20787,  21402,  22005,  22594,
	 23170,  23731,  24279,  24811,  25329,  25832,  26319,  26790,
	 27245,  27683,  28105,  28510,  28898,  29268,  29621,  29955,
	 30272,  30571,  30851,  31113,  31356,  31580,  31785,  31970,
	 32137,  32284,  32412,  32520,  32609,  32678,  32728,  32757,
};

/* sin(-2πk/512) = cos(-2πk/512 + π/2) = cos_table[(k+128) % 256] */
static inline int16_t twiddle_cos(uint16_t k, uint16_t N)
{
	/* Sub-sample the 512-point table for smaller N */
	uint32_t idx = ((uint32_t)k * 256) / (N / 2);
	return cos_table_512[idx & 255];
}

static inline int16_t twiddle_sin(uint16_t k, uint16_t N)
{
	/* sin(-θ) = -sin(θ), sin(-2πk/N) = cos(-2πk/N + π/2) */
	uint32_t idx = ((uint32_t)k * 256) / (N / 2);
	/* Shift by N/4 in the 256-entry space = shift by 64 */
	return cos_table_512[(idx + 64) & 255];
}

/* ──────────────────────────────────────────────
 * Bit-reversal permutation
 * ────────────────────────────────────────────── */
static uint16_t bit_reverse(uint16_t x, uint16_t log2n)
{
	uint16_t result = 0;
	for (uint16_t i = 0; i < log2n; i++) {
		result = (result << 1) | (x & 1);
		x >>= 1;
	}
	return result;
}

static void bit_reverse_reorder(int32_t *re, int32_t *im, uint16_t N)
{
	uint16_t log2n = 0;
	uint16_t tmp = N;
	while (tmp > 1) { log2n++; tmp >>= 1; }

	for (uint16_t i = 0; i < N; i++) {
		uint16_t j = bit_reverse(i, log2n);
		if (j > i) {
			int32_t tr = re[i]; re[i] = re[j]; re[j] = tr;
			int32_t ti = im[i]; im[i] = im[j]; im[j] = ti;
		}
	}
}

/* ──────────────────────────────────────────────
 * Iterative Cooley-Tukey DIT FFT
 *
 * Butterfly: [re_u, im_u]   ← [a + W·b]
 *            [re_v, im_v]   ← [a - W·b]
 *
 * W = cos(−2πk/L) + j·sin(−2πk/L)
 *
 * Q15 butterfly:
 *   tr = (re_v * wr - im_v * wi) >> 15
 *   ti = (re_v * wi + im_v * wr) >> 15
 *   re_v = re_u - tr;  re_u = re_u + tr
 *   im_v = im_u - ti;  im_u = im_u + ti
 *
 * We divide by 2 at each stage to prevent overflow (1/N total scaling).
 * ────────────────────────────────────────────── */
void fft_fixed(int32_t *re, int32_t *im, uint16_t N)
{
	bit_reverse_reorder(re, im, N);

	for (uint16_t L = 2; L <= N; L <<= 1) {
		uint16_t half = L >> 1;

		for (uint16_t k = 0; k < half; k++) {
			int32_t wr = twiddle_cos(k, L);   /* Q15 */
			int32_t wi = twiddle_sin(k, L);   /* Q15 */

			for (uint16_t m = k; m < N; m += L) {
				uint16_t u = m;
				uint16_t v = m + half;

				/* Twiddle: W × [re[v], im[v]] */
				int32_t tr = (re[v] * wr - im[v] * wi) >> 15;
				int32_t ti = (re[v] * wi + im[v] * wr) >> 15;

				/* Butterfly with scale-by-2 guard */
				re[v] = (re[u] - tr) >> 1;
				im[v] = (im[u] - ti) >> 1;
				re[u] = (re[u] + tr) >> 1;
				im[u] = (im[u] + ti) >> 1;
			}
		}
	}
}

/* ──────────────────────────────────────────────
 * Integer square root (Babylonian)
 * ────────────────────────────────────────────── */
uint32_t fft_isqrt32(uint32_t n)
{
	if (n == 0) return 0;
	uint32_t x = n;
	uint32_t y = (x + 1) >> 1;
	while (y < x) {
		x = y;
		y = (x + n / x) >> 1;
	}
	return x;
}
```

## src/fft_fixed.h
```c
/*
 * fft_fixed.h — Integer fixed-point FFT for nRF52840
 *
 * Self-contained, no external dependencies (no CMSIS-DSP, no arm_math.h).
 * Uses Q15 fixed-point arithmetic (values in range [-32768, 32767]).
 *
 * Supports N = power-of-two sizes up to 512 (tested: 64, 128, 256, 512).
 *
 * Usage:
 *   1. Populate re[] with your time-domain samples (scaled to Q15).
 *      Set im[] to all zeros for real input.
 *   2. Call fft_fixed(re, im, N) — in-place, decimation-in-time.
 *   3. Compute magnitudes: mag[k] = sqrt(re[k]^2 + im[k]^2)
 *      Only bins 0..N/2 are unique (conjugate symmetry for real input).
 *   4. Frequency of bin k: f_k = k × (sample_rate / N)
 *
 * Memory:
 *   re[] and im[] must each be int32_t[N].
 *   No heap allocation. Stack usage: O(log2 N) for recursion depth = 0
 *   (iterative Cooley-Tukey, no recursion).
 *
 * Precision note:
 *   Each butterfly stage introduces up to 1 bit of rounding error.
 *   For N=512 (9 stages), worst-case error is ~9 LSBs in Q15.
 *   Sufficient for energy band detection; not suitable for phase measurement.
 */

#ifndef FFT_FIXED_H
#define FFT_FIXED_H

#include <stdint.h>

/**
 * In-place Cooley-Tukey radix-2 DIT FFT.
 *
 * @param re   Real part array, length N, Q15 format (int32_t for headroom)
 * @param im   Imaginary part array, length N, initialise to 0 for real input
 * @param N    FFT size — must be a power of two, max 512
 */
void fft_fixed(int32_t *re, int32_t *im, uint16_t N);

/**
 * Integer square root, uint32_t → uint32_t.
 * Exposed so analysis.c can reuse it.
 */
uint32_t fft_isqrt32(uint32_t n);

#endif /* FFT_FIXED_H */
```

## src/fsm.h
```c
/*
 * fsm.h — State machine types and event definitions (Thread-only transport)
 */

#ifndef FSM_H
#define FSM_H

#include <zephyr/kernel.h>
#include <stdint.h>
#include <stdbool.h>

/* ──────────────────────────────────────────────
 * Sensor Data Types
 * ────────────────────────────────────────────── */

typedef struct {
	int16_t x;
	int16_t y;
	int16_t z;
} accel_sample_t;

typedef struct {
	int16_t  temperature;  /* °C × 100 */
	uint16_t humidity;     /* % × 100  */
	uint32_t pressure;     /* Pascals  */
	bool     valid;
} env_reading_t;

#define VIBRATION_BURST_SIZE    512

/* ──────────────────────────────────────────────
 * System States
 * ────────────────────────────────────────────── */
typedef enum {
	STATE_INIT,
	STATE_THREAD_JOINING,       /* OpenThread scanning / attaching        */
	STATE_THREAD_IDLE,          /* Thread connected, waiting for timer    */
	STATE_COLLECTING_VIBRATION,
	STATE_COLLECTING_ENVIRONMENT,
	STATE_THREAD_TRANSMITTING,  /* CoAP NON POST in-flight                */
	STATE_ERROR,
} fsm_state_t;

/* ──────────────────────────────────────────────
 * Event Types
 * ────────────────────────────────────────────── */
typedef enum {
	EVT_INIT_COMPLETE,
	EVT_INIT_FAILED,

	/* Thread network events */
	EVT_THREAD_CONNECTED,       /* Role moved to Child / Router           */
	EVT_THREAD_DISCONNECTED,    /* Role dropped back to Detached          */

	/* Pipeline timing */
	EVT_BURST_TIMER_EXPIRED,

	/* Async collection pipeline */
	EVT_VIBRATION_COLLECTED,
	EVT_VIBRATION_FAILED,
	EVT_ENV_COLLECTED,

	/* Thread transmission */
	EVT_THREAD_TX_COMPLETE,
	EVT_THREAD_TX_FAILED,
	EVT_WATCHDOG_TIMEOUT,
} fsm_event_type_t;

/* ──────────────────────────────────────────────
 * Event Object
 * ────────────────────────────────────────────── */
typedef struct {
	fsm_event_type_t type;
	uint32_t         timestamp;

	union {
		int error_code;
	} data;
} fsm_event_t;

/* ──────────────────────────────────────────────
 * Event Posting Callback
 * ────────────────────────────────────────────── */
typedef int (*event_post_fn)(fsm_event_t *evt);

/* ──────────────────────────────────────────────
 * Public API
 * ────────────────────────────────────────────── */
void            fsm_init(bool env_sensor_available);
void            fsm_handle_event(const fsm_event_t *evt);
struct k_msgq  *fsm_get_event_queue(void);
int             event_post(fsm_event_t *evt);

#endif /* FSM_H */
```

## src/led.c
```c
/*
 * led.c — LED Control Implementation
 *
 * Provides visual feedback during BLE pairing using LED blinking.
 */

#include <zephyr/kernel.h>
#include <zephyr/drivers/gpio.h>
#include <zephyr/logging/log.h>

#include "led.h"

LOG_MODULE_REGISTER(led, LOG_LEVEL_INF);

/* ──────────────────────────────────────────────
 * LED Hardware Configuration
 *
 * Uses device tree alias 'led0' to find the LED.
 * For nRF52840 DK: LED1 (P0.13) is used by default.
 * ────────────────────────────────────────────── */
#define LED_NODE DT_ALIAS(led0)

#if !DT_NODE_EXISTS(LED_NODE)
#error "led0 alias not found in device tree. Please add it to your board overlay."
#endif

static const struct gpio_dt_spec led = GPIO_DT_SPEC_GET(LED_NODE, gpios);

/* ──────────────────────────────────────────────
 * Blink Timer
 *
 * Periodic timer that toggles LED state.
 * ────────────────────────────────────────────── */
static void led_blink_timer_expiry(struct k_timer *timer);
K_TIMER_DEFINE(led_blink_timer, led_blink_timer_expiry, NULL);

static bool led_is_blinking = false;
static bool led_state = false;

static void led_blink_timer_expiry(struct k_timer *timer)
{
	ARG_UNUSED(timer);
	
	if (!led_is_blinking) {
		return;
	}
	
	/* Toggle LED state */
	led_state = !led_state;
	gpio_pin_set_dt(&led, led_state ? 1 : 0);
}

/* ──────────────────────────────────────────────
 * Public API Implementation
 * ────────────────────────────────────────────── */

int led_init(void)
{
	/* Check if LED GPIO port is ready */
	if (!device_is_ready(led.port)) {
		LOG_ERR("LED GPIO device not ready");
		return -ENODEV;
	}

	/* Configure LED pin as output, initially off */
	int ret = gpio_pin_configure_dt(&led, GPIO_OUTPUT_INACTIVE);
	if (ret < 0) {
		LOG_ERR("Failed to configure LED GPIO (err %d)", ret);
		return ret;
	}

	LOG_INF("LED initialized (port=%s pin=%d)", 
		led.port->name, led.pin);
	return 0;
}

void led_start_blinking(uint32_t period_ms)
{
	led_is_blinking = true;
	led_state = false;
	
	/* Start periodic blinking timer */
	k_timer_start(&led_blink_timer, K_MSEC(period_ms), K_MSEC(period_ms));
	
	LOG_DBG("LED blinking started (period=%u ms)", period_ms);
}

void led_stop_blinking(void)
{
	led_is_blinking = false;
	k_timer_stop(&led_blink_timer);
	
	/* Turn LED off when stopping blink */
	gpio_pin_set_dt(&led, 0);
	led_state = false;
	
	LOG_DBG("LED blinking stopped");
}

void led_on(void)
{
	/* Stop any active blinking first */
	if (led_is_blinking) {
		led_stop_blinking();
	}
	
	gpio_pin_set_dt(&led, 1);
	led_state = true;
	LOG_DBG("LED on");
}

void led_off(void)
{
	/* Stop any active blinking first */
	if (led_is_blinking) {
		led_stop_blinking();
	}
	
	gpio_pin_set_dt(&led, 0);
	led_state = false;
	LOG_DBG("LED off");
}
```

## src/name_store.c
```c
/*
 * name_store.c — Sensor name (hardcoded for v1)
 *
 * BLE NUS naming removed. Name is set at compile time via
 * CONFIG_HVAC_SENSOR_NAME. A CoAP command channel will replace
 * this in a future release.
 */

#include <zephyr/kernel.h>
#include <zephyr/logging/log.h>
#include <string.h>

#include "name_store.h"

LOG_MODULE_REGISTER(name_store, LOG_LEVEL_INF);

/* ──────────────────────────────────────────────
 * Public API
 * ────────────────────────────────────────────── */

int name_store_init(void)
{
	LOG_INF("Sensor name: \"%s\"", CONFIG_HVAC_SENSOR_NAME);
	return 0;
}

const char *name_store_get(void)
{
	return CONFIG_HVAC_SENSOR_NAME;
}
```
